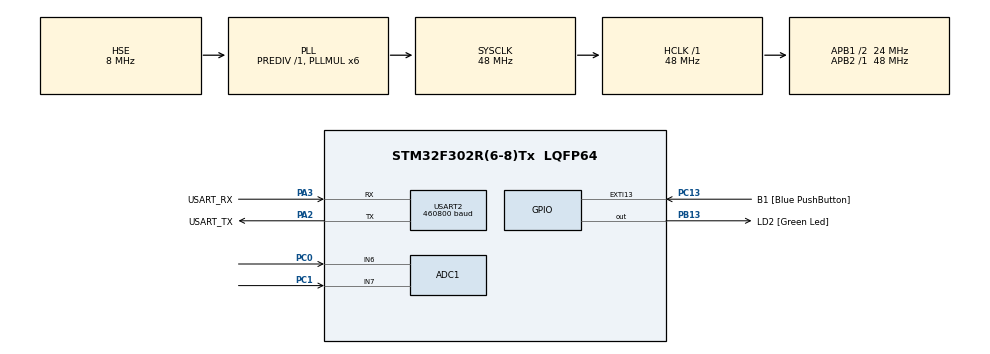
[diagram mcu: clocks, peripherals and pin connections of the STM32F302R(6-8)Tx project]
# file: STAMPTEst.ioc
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ADC1.Channel-4\#ChannelRegularConversion=ADC_CHANNEL_6
ADC1.Channel-6\#ChannelRegularConversion=ADC_CHANNEL_7
ADC1.ContinuousConvMode=ENABLE
ADC1.NbrOfConversion=2
ADC1.NbrOfConversionFlag=1
ADC1.Offset-4\#ChannelRegularConversion=0
ADC1.Offset-6\#ChannelRegularConversion=0
ADC1.OffsetNumber-4\#ChannelRegularConversion=ADC_OFFSET_NONE
ADC1.OffsetNumber-6\#ChannelRegularConversion=ADC_OFFSET_NONE
ADC1.Rank-4\#ChannelRegularConversion=1
ADC1.Rank-6\#ChannelRegularConversion=2
ADC1.SamplingTime-4\#ChannelRegularConversion=ADC_SAMPLETIME_181CYCLES_5
ADC1.SamplingTime-6\#ChannelRegularConversion=ADC_SAMPLETIME_181CYCLES_5
ADC1.SubFamily=STM32F302x8
ADC1.master=1
FREERTOS.Queues01=dataQueue,128,uint32_t,0,Dynamic,NULL,NULL
FREERTOS.Tasks01=measureTask,24,128,StartMeasurement,Default,NULL,Dynamic,NULL,NULL;UARTTransmit,24,128,TransmitTask,Default,NULL,Dynamic,NULL,NULL;HeartBeat,8,128,HeartBeatTask,Default,NULL,Dynamic,NULL,NULL
Mcu.Family=STM32F3
Mcu.Name=STM32F302R(6-8)Tx
Mcu.Package=LQFP64
NVIC.ADC1_IRQn=true\:5\:0\:false\:false\:true\:true\:true\:true
NVIC.PriorityGroup=NVIC_PRIORITYGROUP_4
NVIC.TIM1_UP_TIM16_IRQn=true\:0\:0\:false\:false\:true\:false\:false\:true
NVIC.TimeBase=TIM1_UP_TIM16_IRQn
NVIC.TimeBaseIP=TIM1
NVIC.USART2_IRQn=true\:5\:0\:false\:false\:true\:true\:true\:true
PA13.GPIO_Label=TMS
PA13.Mode=Serial_Wire
PA13.Signal=SYS_JTMS-SWDIO
PA14.GPIO_Label=TCK
PA14.Mode=Serial_Wire
PA14.Signal=SYS_JTCK-SWCLK
PA2.GPIO_Label=USART_TX
PA2.GPIO_Mode=GPIO_MODE_AF_PP
PA2.GPIO_PuPd=GPIO_NOPULL
PA2.GPIO_Speed=GPIO_SPEED_FREQ_LOW
PA2.Mode=Asynchronous
PA2.Signal=USART2_TX
PA3.GPIO_Label=USART_RX
PA3.GPIO_Mode=GPIO_MODE_AF_PP
PA3.GPIO_PuPd=GPIO_NOPULL
PA3.GPIO_Speed=GPIO_SPEED_FREQ_LOW
PA3.Mode=Asynchronous
PA3.Signal=USART2_RX
PB13.GPIO_Label=LD2 [Green Led]
PB13.Signal=GPIO_Output
PB3.GPIO_Label=SWO
PB3.Mode=Trace_Asynchronous_SW
PB3.Signal=SYS_JTDO-TRACESWO
PC0.Signal=ADCx_IN6
PC1.Signal=ADCx_IN7
PC13.GPIO_Label=B1 [Blue PushButton]
PC13.GPIO_ModeDefaultEXTI=GPIO_MODE_IT_FALLING
PC13.Signal=GPXTI13
PC14\ -\ OSC32_IN.Mode=LSE-External-Oscillator
PC14\ -\ OSC32_IN.Signal=RCC_OSC32_IN
PC15\ -\ OSC32_OUT.Mode=LSE-External-Oscillator
PC15\ -\ OSC32_OUT.Signal=RCC_OSC32_OUT
PF0-OSC_IN.Mode=HSE-External-Clock-Source
PF0-OSC_IN.Signal=RCC_OSC_IN
PF1-OSC_OUT.Signal=RCC_OSC_OUT
ProjectManager.HeapSize=0x200
ProjectManager.StackSize=0x400
ProjectManager.TargetToolchain=STM32CubeIDE
RCC.ADC12PRES=RCC_ADC1PLLCLK_DIV32
RCC.AHBFreq_Value=48000000
RCC.APB1CLKDivider=RCC_HCLK_DIV2
RCC.APB1Freq_Value=24000000
RCC.APB1TimFreq_Value=48000000
RCC.APB2Freq_Value=48000000
RCC.APB2TimFreq_Value=48000000
RCC.CortexFreq_Value=48000000
RCC.HCLKFreq_Value=48000000
RCC.HSE_VALUE=8000000
RCC.HSI_VALUE=8000000
RCC.PLLM=8
RCC.PLLMUL=RCC_PLL_MUL6
RCC.PLLN=336
RCC.PLLP=RCC_PLLP_DIV4
RCC.PLLQ=7
RCC.PLLSourceVirtual=RCC_PLLSOURCE_HSE
RCC.SYSCLKFreq_VALUE=48000000
RCC.SYSCLKSourceVirtual=RCC_SYSCLKSOURCE_PLLCLK
RCC.USBFreq_Value=48000000
SH.ADCx_IN6.0=ADC1_IN6,IN6-Single-Ended
SH.ADCx_IN7.0=ADC1_IN7,IN7-Single-Ended
USART2.BaudRate=460800
USART2.VirtualMode-Asynchronous=VM_ASYNC
VP_CRC_VS_CRC.Mode=CRC_Activate
VP_FREERTOS_VS_CMSIS_V2.Mode=CMSIS_V2
VP_SYS_VS_tim1.Mode=TIM1
board=NUCLEO-F302R8

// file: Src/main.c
/* USER CODE BEGIN Header */
/**
 ******************************************************************************
 * @file           : main.c
 * @brief          : Main program body
 ******************************************************************************
 * @attention
 *
 * <h2><center>&copy; Copyright (c) 2020 STMicroelectronics.
 * All rights reserved.</center></h2>
 *
 * This software component is licensed by ST under Ultimate Liberty license
 * SLA0044, the "License"; You may not use this file except in compliance with
 * the License. You may obtain a copy of the License at:
 *                             www.st.com/SLA0044
 *
 ******************************************************************************
 */
/* USER CODE END Header */

#include "main.h"
#include "cmsis_os.h"
#include "adc.h"
#include "crc.h"
#include "usart.h"
#include "gpio.h"

/* USER CODE BEGIN Includes */
#include "MyDefine.h"
/* USER CODE END Includes */

/* USER CODE BEGIN PD */
#define BAUD 460800
/* USER CODE END PD */

/* USER CODE BEGIN PM */
uint16_t globaldata[WATERMARK_MAX] = {0};
uint32_t watermark = 0;
/* USER CODE END PM */

/* USER CODE BEGIN PV */
extern ADC_HandleTypeDef hadc1;
extern osMessageQueueId_t dataQueueHandle;
/* USER CODE END PV */

void SystemClock_Config(void);
void MX_FREERTOS_Init(void);

/* USER CODE BEGIN 0 */
//void HAL_ADC_ConvCpltCallback(ADC_HandleTypeDef *hadc) {
//	uint32_t data = HAL_ADC_GetValue(&hadc);
//	uint8_t msg[100];
//	sprintf(msg, "%d\n\r\0", data);
//	HAL_UART_Transmit(&huart2, msg, strlen(msg), 10);
//}

/* USER CODE END 0 */

int main(void)
{

  /* MCU Configuration--------------------------------------------------------*/

  /* Reset of all peripherals, Initializes the Flash interface and the Systick. */
  HAL_Init();

  /* Configure the system clock */
  SystemClock_Config();

  /* Initialize all configured peripherals */
  MX_GPIO_Init();
  MX_USART2_UART_Init();
  MX_CRC_Init();
  MX_ADC1_Init();

  /* Init scheduler */
  osKernelInitialize();  /* Call init function for freertos objects (in freertos.c) */
  MX_FREERTOS_Init();
  /* Start scheduler */
  osKernelStart();

  /* We should never get here as control is now taken by the scheduler */
  /* Infinite loop */
	while (1) {

	}
}

void SystemClock_Config(void)
{
  RCC_OscInitTypeDef RCC_OscInitStruct = {0};
  RCC_ClkInitTypeDef RCC_ClkInitStruct = {0};
  RCC_PeriphCLKInitTypeDef PeriphClkInit = {0};

  /** Initializes the CPU, AHB and APB busses clocks
  */
  RCC_OscInitStruct.OscillatorType = RCC_OSCILLATORTYPE_HSE;
  RCC_OscInitStruct.HSEState = RCC_HSE_BYPASS;
  RCC_OscInitStruct.HSEPredivValue = RCC_HSE_PREDIV_DIV1;
  RCC_OscInitStruct.HSIState = RCC_HSI_ON;
  RCC_OscInitStruct.PLL.PLLState = RCC_PLL_ON;
  RCC_OscInitStruct.PLL.PLLSource = RCC_PLLSOURCE_HSE;
  RCC_OscInitStruct.PLL.PLLMUL = RCC_PLL_MUL6;
  if (HAL_RCC_OscConfig(&RCC_OscInitStruct) != HAL_OK)
  {
    Error_Handler();
  }
  /** Initializes the CPU, AHB and APB busses clocks
  */
  RCC_ClkInitStruct.ClockType = RCC_CLOCKTYPE_HCLK|RCC_CLOCKTYPE_SYSCLK
                              |RCC_CLOCKTYPE_PCLK1|RCC_CLOCKTYPE_PCLK2;
  RCC_ClkInitStruct.SYSCLKSource = RCC_SYSCLKSOURCE_PLLCLK;
  RCC_ClkInitStruct.AHBCLKDivider = RCC_SYSCLK_DIV1;
  RCC_ClkInitStruct.APB1CLKDivider = RCC_HCLK_DIV2;
  RCC_ClkInitStruct.APB2CLKDivider = RCC_HCLK_DIV1;

  if (HAL_RCC_ClockConfig(&RCC_ClkInitStruct, FLASH_LATENCY_1) != HAL_OK)
  {
    Error_Handler();
  }
  PeriphClkInit.PeriphClockSelection = RCC_PERIPHCLK_ADC1;
  PeriphClkInit.Adc1ClockSelection = RCC_ADC1PLLCLK_DIV32;

  if (HAL_RCCEx_PeriphCLKConfig(&PeriphClkInit) != HAL_OK)
  {
    Error_Handler();
  }
}

 /**
  * @brief  Period elapsed callback in non blocking mode
  * @note   This function is called  when TIM1 interrupt took place, inside
  * HAL_TIM_IRQHandler(). It makes a direct call to HAL_IncTick() to increment
  * a global variable "uwTick" used as application time base.
  * @param  htim : TIM handle
  * @retval None
  */
void HAL_TIM_PeriodElapsedCallback(TIM_HandleTypeDef *htim)
{
  if (htim->Instance == TIM1) {
    HAL_IncTick();
  }
}

void Error_Handler(void)
{
}

/************************ (C) COPYRIGHT STMicroelectronics *****END OF FILE****/

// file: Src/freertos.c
/* USER CODE BEGIN Header */
/**
 ******************************************************************************
 * File Name          : freertos.c
 * Description        : Code for freertos applications
 ******************************************************************************
 * @attention
 *
 * <h2><center>&copy; Copyright (c) 2020 STMicroelectronics.
 * All rights reserved.</center></h2>
 *
 * This software component is licensed by ST under Ultimate Liberty license
 * SLA0044, the "License"; You may not use this file except in compliance with
 * the License. You may obtain a copy of the License at:
 *                             www.st.com/SLA0044
 *
 ******************************************************************************
 */
/* USER CODE END Header */

#include "FreeRTOS.h"
#include "task.h"
#include "main.h"
#include "cmsis_os.h"

/* USER CODE BEGIN Includes */
#include "adc.h"
#include "signal.h"
#include "usart.h"
#include "MyDefine.h"
#include <string.h>
#include <stdio.h>
/* USER CODE END Includes */

/* Definitions for measureTask */
osThreadId_t measureTaskHandle;
const osThreadAttr_t measureTask_attributes = {
  .name = "measureTask",
  .priority = (osPriority_t) osPriorityNormal,
  .stack_size = 128 * 4
};
/* Definitions for UARTTransmit */
osThreadId_t UARTTransmitHandle;
const osThreadAttr_t UARTTransmit_attributes = {
  .name = "UARTTransmit",
  .priority = (osPriority_t) osPriorityNormal,
  .stack_size = 128 * 4
};
/* Definitions for HeartBeat */
osThreadId_t HeartBeatHandle;
const osThreadAttr_t HeartBeat_attributes = {
  .name = "HeartBeat",
  .priority = (osPriority_t) osPriorityLow,
  .stack_size = 128 * 4
};
/* Definitions for dataQueue */
osMessageQueueId_t dataQueueHandle;
const osMessageQueueAttr_t dataQueue_attributes = {
  .name = "dataQueue"
};

/* USER CODE BEGIN FunctionPrototypes */
extern uint16_t globaldata[];
extern uint32_t watermark;
/* USER CODE END FunctionPrototypes */

void StartMeasurement(void *argument);
void TransmitTask(void *argument);
void HeartBeatTask(void *argument);

void MX_FREERTOS_Init(void); /* (MISRA C 2004 rule 8.1) */

void MX_FREERTOS_Init(void) {

  /* Create the queue(s) */
  /* creation of dataQueue */
  dataQueueHandle = osMessageQueueNew (128, sizeof(uint32_t), &dataQueue_attributes);

  /* Create the thread(s) */
  /* creation of measureTask */
  measureTaskHandle = osThreadNew(StartMeasurement, NULL, &measureTask_attributes);

  /* creation of UARTTransmit */
  UARTTransmitHandle = osThreadNew(TransmitTask, NULL, &UARTTransmit_attributes);

  /* creation of HeartBeat */
  HeartBeatHandle = osThreadNew(HeartBeatTask, NULL, &HeartBeat_attributes);

}

void StartMeasurement(void *argument)
{
  /* USER CODE BEGIN StartMeasurement */
	/* Infinite loop */
	uint8_t cmd;
	osStatus_t status = {0};
	//HAL_UART_Transmit(&huart2, &d, 1,0);
	HAL_UART_Receive_IT(&huart2, &cmd, 1);

	for (;;) {
		status = osThreadFlagsWait(0x1, osFlagsWaitAll, osWaitForever);
		HAL_UART_Receive_IT(&huart2, &cmd, 1);
		if (cmd & 0x1){
			osThreadFlagsSet(HeartBeatHandle, ThreadFlagHBStart);
			HAL_ADC_Start_IT(&hadc1);
		} else if (cmd & 0x2) {
			osThreadFlagsSet(HeartBeatHandle, ThreadFlagHBStop);
			HAL_ADC_Stop_IT(&hadc1);
			watermark = 0;
		}
		osDelay(1);
	}
  /* USER CODE END StartMeasurement */
}

void TransmitTask(void *argument)
{
  /* USER CODE BEGIN TransmitTask */
	/* Infinite loop */
	osStatus_t status = {0};
	for (;;) {
		status = osThreadFlagsWait(0x2, osFlagsWaitAny, osWaitForever);
		HAL_NVIC_DisableIRQ(ADC1_IRQn);
		HAL_UART_Transmit_IT(&huart2, (uint8_t*)globaldata, WATERMARK_MAX);
		osDelay(1);
	}
  /* USER CODE END TransmitTask */
}

void HeartBeatTask(void *argument)
{
  /* USER CODE BEGIN HeartBeatTask */
	uint32_t running = 0;
	/* Infinite loop */
	for (;;) {
		if (running == 0) {
			osThreadFlagsWait(ThreadFlagHBStart, osFlagsWaitAny, osWaitForever);
			running = 1;
		} else {
			osStatus_t status = osThreadFlagsWait(ThreadFlagHBStop, osFlagsWaitAny, 100);
			if (status == osErrorTimeout ) {
				HAL_GPIO_TogglePin(LD2_GPIO_Port, LD2_Pin);
			} else {
				running = 0;
			}
		}
	}
  /* USER CODE END HeartBeatTask */
}

/************************ (C) COPYRIGHT STMicroelectronics *****END OF FILE****/
